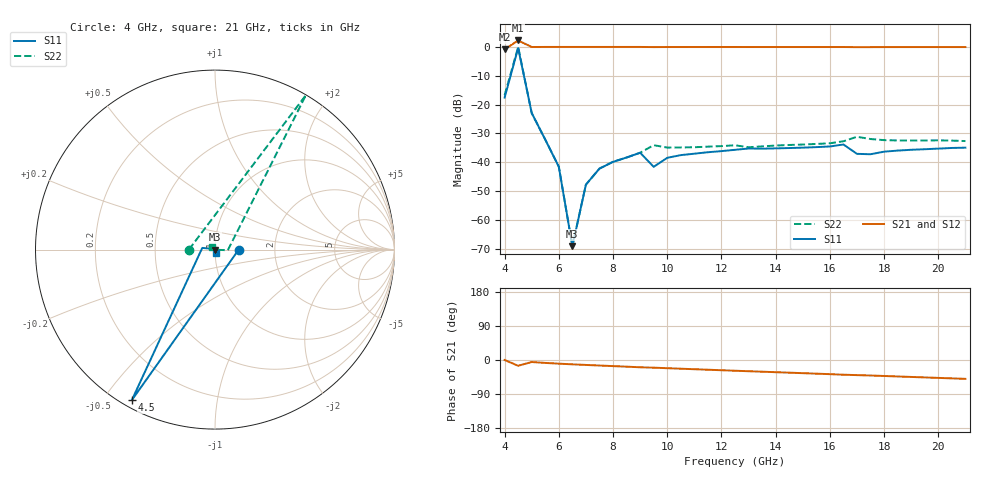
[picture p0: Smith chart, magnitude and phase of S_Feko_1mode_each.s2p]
! S-parameter export from POSTFEKO
! Filename: circular_2wg_1mode
! Creation date: 2019-12-29 17:08:22
# Hz S MA R  5.0000000E+01
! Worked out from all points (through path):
!   35 points, 4 GHz to 21 GHz, reference 50 ohm
!   highest |S21| = 2.25 dB at 4.5 GHz (marker M1); lowest = -0.9 dB at 4 GHz (marker M2)
!   group delay of S21, straight-line fit = 7.34 ps
!   lowest |S11| = -69.1 dB at 6.5 GHz (marker M3), VSWR 1.00, Z = 50 + j0.0353 ohm
!   |S11| at or under -10 dB: start of sweep to 4.22 GHz; 4.714 GHz to end of sweep
!   |S22| runs from -69.0 to 0.0 dB; largest |S21 - S12| = 3e-05
!   S11 on the Smith chart (normalised r, x): 4 GHz: 1.30, +0.00; 4.5 GHz: 0.03, -0.59; 21 GHz: 1.01, -0.03
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4e9  0.1322 0.0  0.9066 0.0  0.9066 -0.0  0.1455 180.0
4.5e9  0.9581 -118.9  1.295 -15.2  1.295 -15.2  1 59.5
5e9  0.07149 172.4  0.9974 -5.3  0.9974 -5.3  0.07149 -3.0
5.5e9  0.02476 168.3  0.9997 -7.7  0.9997 -7.7  0.02475 -3.7
6e9  0.008403 163.8  1 -9.7  1 -9.7  0.008401 -3.1
6.5e9  0.0003528 91.0  1 -11.4  1 -11.4  0.0003539 66.3
7e9  0.004115 -17.7  1 -13.0  1 -13.0  0.004116 171.6
7.5e9  0.007792 -21.4  1 -14.6  1 -14.6  0.007806 172.1
8e9  0.01021 -25.9  0.9999 -16.1  0.9999 -16.1  0.01022 173.7
9e9  0.01468 -46.4  0.9999 -19.2  0.9999 -19.2  0.01468 -172.1
9.5e9  0.008365 -23.0  0.9942 -20.2  0.9942 -20.2  0.01984 161.3
1e10  0.01199 -25.9  0.9969 -21.6  0.9969 -21.6  0.01802 161.5
1.05e10  0.01335 -28.1  0.9975 -23.0  0.9975 -23.0  0.01812 161.1
1.25e10  0.0165 -36.3  0.9982 -28.3  0.9982 -28.3  0.01978 158.7
1.3e10  0.01738 -42.1  0.9968 -29.6  0.9968 -29.6  0.01826 156.0
1.55e10  0.01836 -56.8  0.9976 -36.0  0.9976 -36.0  0.02085 161.6
1.65e10  0.02041 -71.4  0.9974 -38.8  0.9974 -38.8  0.0232 169.5
1.7e10  0.01404 -76.0  0.9915 -39.9  0.9915 -39.9  0.02773 157.4
1.75e10  0.01382 -59.3  0.9931 -40.9  0.9931 -40.9  0.02536 148.8
1.8e10  0.01531 -60.4  0.9945 -42.2  0.9945 -42.2  0.02427 149.0
1.85e10  0.01599 -62.0  0.995 -43.4  0.995 -43.4  0.02395 148.6
2.1e10  0.01797 -73.7  0.9952 -49.7  0.9952 -49.7  0.02337 146.4
